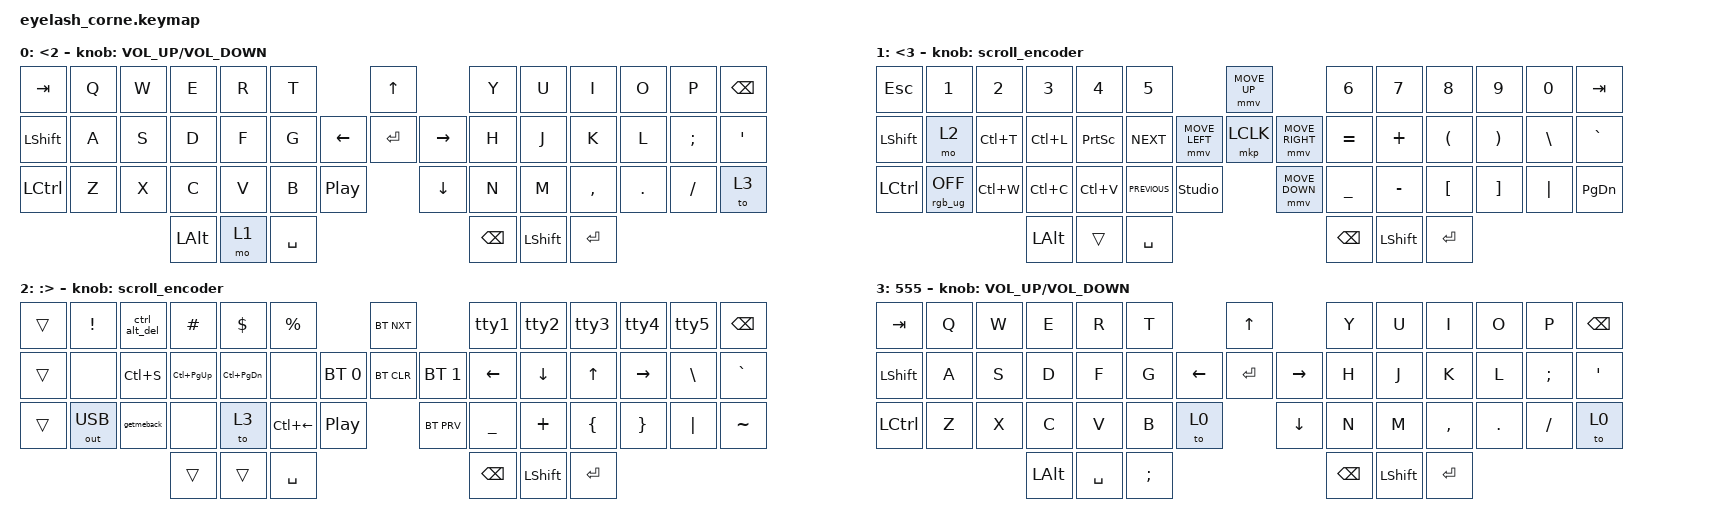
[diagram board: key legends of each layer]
#include <behaviors.dtsi>
#include <dt-bindings/zmk/bt.h>
#include <dt-bindings/zmk/keys.h>
#include <dt-bindings/zmk/mouse.h>
#include <dt-bindings/zmk/outputs.h>
#include <dt-bindings/zmk/rgb.h>

#include <input/processors.dtsi>

/*

   &mmv_input_listener {
       input-processors = <&zip_xy_scaler 2 1>;
   };

   &msc_input_listener {
       input-processors = <&zip_xy_scaler 2 1>;
   };

 */

#define ZMK_MOUSE_DEFAULT_MOVE_VAL 1200  // 600
#define ZMK_MOUSE_DEFAULT_SCRL_VAL 20    // 10

/ {
    behaviors {
        td0: td0 {
            compatible = "zmk,behavior-tap-dance";
            display-name = "Shift/Caps Lock Tap Dance";
            #binding-cells = <0>;
            bindings = <&kp LEFT_SHIFT>, <&kp CAPS>;
        };
    };

    rgb_encoder: rgb_encoder {
        compatible = "zmk,behavior-sensor-rotate";
        #sensor-binding-cells = <0>;
        bindings = <&rgb_ug RGB_BRI>, <&rgb_ug RGB_BRD>;
    };

    scroll_encoder: scroll_encoder {
        compatible = "zmk,behavior-sensor-rotate";
        #sensor-binding-cells = <0>;
        bindings = <&msc SCRL_DOWN>, <&msc SCRL_UP>;
        tap-ms = <30>;
    };

    macros {
    ctrl_alt_del: ctrl_alt_del {
      compatible = "zmk,behavior-macro";
      #binding-cells = <0>;
      bindings = <&kp LC(LA(DEL))>;
    };
        tty1: tty1 {
            compatible = "zmk,behavior-macro";
            #binding-cells = <0>;
            bindings = <&kp LC(LA(F1))>;
        };

        tty2: tty2 {
            compatible = "zmk,behavior-macro";
            #binding-cells = <0>;
            bindings = <&kp LC(LA(F2))>;
        };

        tty3: tty3 {
            compatible = "zmk,behavior-macro";
            #binding-cells = <0>;
            bindings = <&kp LC(LA(F3))>;
        };

        tty4: tty4 {
            compatible = "zmk,behavior-macro";
            #binding-cells = <0>;
            bindings = <&kp LC(LA(F4))>;
        };
        tty5: tty5 {
            compatible = "zmk,behavior-macro";
            #binding-cells = <0>;
            bindings = <&kp LC(LA(F5))>;
        };

        getmeback: getmeback {
            label = "ZM_zed_em_kay";
            compatible = "zmk,behavior-macro";
            #binding-cells = <0>;
            wait-ms = <40>;
            tap-ms = <60>;
            bindings
                = <&macro_press &kp LSHFT>

                , <&macro_press &kp LCTRL>

                , <&macro_tap &kp T>

                , <&macro_release &kp LSHFT>

                , <&macro_release &kp LCTRL>

                ;
        };
        backtab: backtab {
            label = "ZM_zed_em_kay";
            compatible = "zmk,behavior-macro";
            #binding-cells = <0>;
            wait-ms = <40>;
            tap-ms = <60>;
            bindings
                = <&macro_press &kp LWIN>
                , <&macro_tap &kp A>
                , <&macro_release &kp LWIN>
                ;
        };
        forwardtab: forwardtab {
            label = "ZM_zed_em_kay";
            compatible = "zmk,behavior-macro";
            #binding-cells = <0>;
            wait-ms = <40>;
            tap-ms = <60>;
            bindings
                = <&macro_press &kp LWIN>
                , <&macro_tap &kp D>
                , <&macro_release &kp LWIN>
                ;
        };
    };

    keymap {
        compatible = "zmk,keymap";

        default_layer {
            display-name = "<2";
            bindings = <
&kp TAB    &kp Q  &kp W      &kp E     &kp R  &kp T                              &kp UP                &kp Y        &kp U  &kp I      &kp O    &kp P     &kp BSPC
&kp LSHFT  &kp A  &kp S      &kp D     &kp F  &kp G                    &kp LEFT  &kp ENTER  &kp RIGHT  &kp H        &kp J  &kp K      &kp L    &kp SEMI  &kp SQT
&kp LCTRL  &kp Z  &kp X      &kp C     &kp V  &kp B       &kp C_PP               &kp DOWN              &kp N        &kp M  &kp COMMA  &kp DOT  &kp FSLH  &to 3
                             &kp LALT  &mo 1  &kp SPACE                                                &kp BSPC     &kp LSHIFT  &kp RET
            >;
            sensor-bindings = <&inc_dec_kp C_VOLUME_UP C_VOLUME_DOWN>;
        };

        lower_layer {
            display-name = "<3";
            bindings = <
&kp ESCAPE  &kp N1           &kp N2          &kp N3        &kp N4           &kp N5                                   &mmv MOVE_UP                         &kp N6         &kp N7      &kp N8                &kp N9                 &kp N0         &kp TAB
&kp LSHIFT  &mo 2            &kp LC(T)       &kp LC(L)     &kp PRINTSCREEN  &kp C_NEXT             &mmv MOVE_LEFT  &mkp LCLK  &mmv MOVE_RIGHT        &kp EQUAL      &kp PLUS    &kp LEFT_PARENTHESIS  &kp RIGHT_PARENTHESIS  &kp BACKSLASH  &kp GRAVE
&kp LCTRL   &rgb_ug RGB_OFF  &kp LC(W)       &kp LC(C)     &kp LC(V)        &kp C_PREVIOUS    &studio_unlock                 &mmv MOVE_DOWN                    &kp UNDER      &kp MINUS   &kp LEFT_BRACKET      &kp RIGHT_BRACKET      &kp PIPE       &kp PG_DN
                                             &kp LEFT_ALT  &trans           &kp SPACE                                                                     &kp BSPC     &kp LSHIFT  &kp RET
            >;
            sensor-bindings = <&scroll_encoder>;
        };



        raise_layer {
            display-name = ":>";
            bindings = <
&trans  &kp EXCL      &ctrl_alt_del  &kp HASH       &kp DLLR        &kp PRCNT                           &bt BT_NXT                    &tty1  &tty2  &tty3     &tty4   &tty5  &kp BSPC
&trans  &none         &kp LC(S)     &kp LC(PG_UP)  &kp LC(PG_DN)   &none                 &bt BT_SEL 0  &bt BT_CLR  &bt BT_SEL 1         &kp LEFT   &kp DOWN  &kp UP_ARROW  &kp RIGHT  &kp BSLH  &kp GRAVE
&trans  &out OUT_USB  &getmeback    &none          &to 3           &kp LC(LEFT)     &kp C_PP               &bt BT_PRV                  &kp UNDER  &kp PLUS  &kp LBRC      &kp RBRC   &kp PIPE  &kp TILDE
                                    &trans         &trans          &kp SPACE                                                           &kp BSPC     &kp LSHIFT  &kp RET
            >;
            sensor-bindings = <&scroll_encoder>;
        };

        layer_3 {
            display-name = "555";
            bindings = <
&kp TAB    &kp Q  &kp W      &kp E     &kp R  &kp T                              &kp UP                &kp Y        &kp U  &kp I      &kp O    &kp P     &kp BSPC
&kp LSHFT  &kp A  &kp S      &kp D     &kp F  &kp G                    &kp LEFT  &kp ENTER  &kp RIGHT  &kp H        &kp J  &kp K      &kp L    &kp SEMI  &kp SQT
&kp LCTRL  &kp Z  &kp X      &kp C     &kp V  &kp B       &to 0               &kp DOWN              &kp N        &kp M  &kp COMMA  &kp DOT  &kp FSLH  &to 0
                             &kp LALT  &kp SPACE  &kp SEMI                                                &kp BSPC     &kp LSHIFT  &kp RET
            >;
            sensor-bindings = <&inc_dec_kp C_VOLUME_UP C_VOLUME_DOWN>;
        };
    };
};
